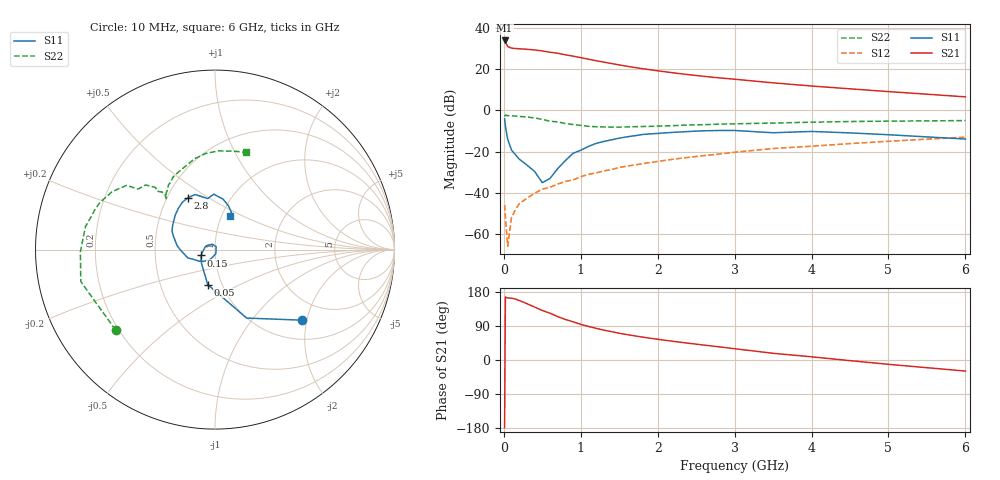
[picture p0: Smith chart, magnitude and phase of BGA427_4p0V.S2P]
! Infineon Technologies  Discrete & RF Semiconductors
! BGA427
! Si NPN RF SIEGET Grounded Emitter Transistor in SOT343
! VCE =  IC =
! Common Emitter S-Parameters:  November  1999
# GHz  S  MA  R  50
!  f  S11  S21  S12  S22
! GHz  MAG  ANG  MAG  ANG  MAG  ANG  MAG  ANG
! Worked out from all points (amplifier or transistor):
!   36 points, 10 MHz to 6 GHz, reference 50 ohm
!   highest |S21| = 34.1 dB at 10 MHz (marker M1)
!   |S21| within 3 dB of that: start of sweep to 53.1 MHz
!   unconditionally stable (mu >= 1): 19.2 MHz to 2.816 GHz
!   at 250 MHz: K = 1.37, MAG = 33.3 dB, |S12| = -44.0 dB
!   at 1.4 GHz: K = 1.12, MAG = 23.7 dB, |S12| = -28.7 dB
!   at 6 GHz: K = 0.98, MSG = 9.8 dB, |S12| = -13.0 dB
!   S11 on the Smith chart (normalised r, x): 10 MHz: 1.45, -1.86; 50 MHz: 0.86, -0.35; 150 MHz: 0.85, -0.06; 2.8 GHz: 0.63, +0.41; 6 GHz: 1.09, +0.42
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0.01  0.622 -39.2  50.5 -178.5  0.005 -10.0  0.7124 -141.0
0.02  0.4202 -65.2  46.42 166.3  0.0026 -34.4  0.7686 -166.6
0.05  0.1993 -101.7  35.95 163.5  0.0005 8.0  0.7502 -179.0
0.1  0.1084 -133.7  32.88 163.2  0.0025 65.1  0.7361 173.9
0.15  0.0845 -157.5  32.17 160.9  0.0038 73.2  0.733 169.9
0.3  0.047 148.1  30.82 148.6  0.0073 80.3  0.6931 157.8
0.4  0.0329 116.0  29.67 139.7  0.0097 77.8  0.6581 150.6
0.5  0.0175 68.0  28.06 130.6  0.0122 80.3  0.6087 144.0
0.7  0.0385 -102.9  24.67 114.6  0.0162 85.2  0.5284 137.0
0.8  0.0604 -116.3  22.58 107.1  0.0188 88.2  0.4803 133.8
0.9  0.0909 -133.8  20.96 100.8  0.0204 90.0  0.455 134.4
1  0.1079 -143.1  19.32 94.1  0.0245 90.0  0.4338 132.5
1.1  0.1333 -156.3  17.65 88.5  0.0279 89.8  0.4121 132.3
1.3  0.1765 -173.3  14.99 78.8  0.0339 89.8  0.3966 133.4
1.5  0.2123 173.9  12.84 70.6  0.0409 89.2  0.3941 133.3
1.8  0.2602 156.9  10.4 60.5  0.0506 87.1  0.4071 132.1
2.2  0.2936 138.8  8.238 49.3  0.0651 84.3  0.4269 128.0
2.8  0.3261 117.5  6.201 34.7  0.0872 79.5  0.4655 120.4
3.5  0.2871 98.2  4.699 17.7  0.1187 70.8  0.4941 109.1
4.5  0.2847 81.0  3.363 -1.7  0.1565 61.5  0.5384 95.5
5.5  0.2274 66.2  2.488 -20.3  0.2008 50.1  0.5583 79.6
6  0.2018 66.3  2.144 -29.2  0.2237 43.2  0.5682 72.3
